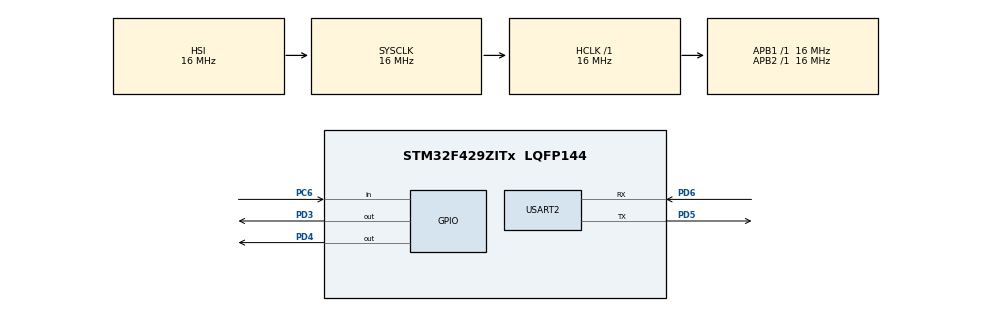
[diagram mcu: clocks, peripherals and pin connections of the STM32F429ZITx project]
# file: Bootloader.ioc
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Mcu.Family=STM32F4
Mcu.Name=STM32F429ZITx
Mcu.Package=LQFP144
NVIC.PriorityGroup=NVIC_PRIORITYGROUP_4
PA13.Mode=Serial_Wire
PA13.Signal=SYS_JTMS-SWDIO
PA14.Mode=Serial_Wire
PA14.Signal=SYS_JTCK-SWCLK
PC6.GPIO_PuPd=GPIO_PULLUP
PC6.Signal=GPIO_Input
PD3.GPIO_PuPd=GPIO_PULLDOWN
PD3.Signal=GPIO_Output
PD4.GPIO_PuPd=GPIO_PULLUP
PD4.PinState=GPIO_PIN_RESET
PD4.Signal=GPIO_Output
PD5.Mode=Asynchronous
PD5.Signal=USART2_TX
PD6.Mode=Asynchronous
PD6.Signal=USART2_RX
ProjectManager.HeapSize=0x200
ProjectManager.StackSize=0x400
ProjectManager.TargetToolchain=Makefile
RCC.AHBFreq_Value=16000000
RCC.APB1Freq_Value=16000000
RCC.APB1TimFreq_Value=16000000
RCC.APB2Freq_Value=16000000
RCC.APB2TimFreq_Value=16000000
RCC.CortexFreq_Value=16000000
RCC.HCLKFreq_Value=16000000
RCC.HSE_VALUE=8000000
RCC.HSI_VALUE=16000000
RCC.LSE_VALUE=32768
RCC.SYSCLKFreq_VALUE=16000000
RCC.VCOOutputFreq_Value=192000000
USART2.VirtualMode=VM_ASYNC
board=custom

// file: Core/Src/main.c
/* USER CODE BEGIN Header */
/**
 ******************************************************************************
 * @file           : main.c
 * @brief          : Main program body
 ******************************************************************************
 * @attention
 *
 * Copyright (c) 2023 STMicroelectronics.
 * All rights reserved.
 *
 * This software is licensed under terms that can be found in the LICENSE file
 * in the root directory of this software component.
 * If no LICENSE file comes with this software, it is provided AS-IS.
 *
 ******************************************************************************
 */
/* USER CODE END Header */
#include "main.h"

/* USER CODE BEGIN Includes */
#include "stdbool.h"
#include "stdint.h"
#include "stm32f429xx.h"
#include "stm32f4xx_hal.h"
#include "stm32f4xx_hal_flash_ex.h"
//
#include "flash_loader.h"     //for parsing msg from RPi and write Flash
#include "jump_addr.h"        //for jump into main program
#include "parser_cmd.h"       //for parsing CMD from RPi
#include "work_with_flash.h"  //for work with flash (read write + serial)
/* USER CODE END Includes */

UART_HandleTypeDef huart2;

void SystemClock_Config(void);
static void MX_GPIO_Init(void);
static void MX_USART2_UART_Init(void);

int main(void) {

  /* MCU Configuration--------------------------------------------------------*/

  /* Reset of all peripherals, Initializes the Flash interface and the Systick. */
  HAL_Init();

  /* Configure the system clock */
  SystemClock_Config();

  /* Initialize all configured peripherals */
  MX_GPIO_Init();
  MX_USART2_UART_Init();
  /* USER CODE BEGIN 2 */
  HAL_Delay(10);
  while (HAL_GPIO_ReadPin(GPIOC, GPIO_PIN_6) != GPIO_PIN_RESET) {
    HAL_GPIO_TogglePin(GPIOA, GPIO_PIN_1);
    HAL_Delay(1);
  }
  bool parserEND = false;
  uDataParse.DataRx[0] = 0;
  /* USER CODE END 2 */

  /* Infinite loop */
  /* USER CODE BEGIN WHILE */
  while (1) {
    HAL_GPIO_WritePin(GPIOD, GPIO_PIN_3, GPIO_PIN_RESET);  // shutdown off
    HAL_GPIO_WritePin(GPIOD, GPIO_PIN_4, GPIO_PIN_SET);    // power on

    while (!parserEND) {
      while ((uDataParse.DataRx[0] != 'm')) {
        HAL_UART_Receive(&huart2, &uDataParse.DataRx[0], 1, 0xffff);
      }
      HAL_UART_Receive(&huart2, &uDataParse.DataRx[1], 10, 0xffff);
      if ((uDataParse.DataRx[0] == 'm') && (uDataParse.DataRx[1] == 'c') && (uDataParse.DataRx[2] == 'u')) {
        /*
          uint8_t DataCmdBoot[] = "mcu;bt;none";
          uint8_t DataCmdStart[] = "mcu;st;none";
        */

        parserEND = ParserCMD();
      } else {
        uDataParse.DataRx[0] = ' ';
      }
    }

    //----------------------------------------------

    JumpNewAddr();  //  Jump to new adress

    /* USER CODE END WHILE */

  }
}

void SystemClock_Config(void) {
  RCC_OscInitTypeDef RCC_OscInitStruct = {0};
  RCC_ClkInitTypeDef RCC_ClkInitStruct = {0};

  /** Configure the main internal regulator output voltage
   */
  __HAL_RCC_PWR_CLK_ENABLE();
  __HAL_PWR_VOLTAGESCALING_CONFIG(PWR_REGULATOR_VOLTAGE_SCALE3);

  /** Initializes the RCC Oscillators according to the specified parameters
   * in the RCC_OscInitTypeDef structure.
   */
  RCC_OscInitStruct.OscillatorType = RCC_OSCILLATORTYPE_HSI;
  RCC_OscInitStruct.HSIState = RCC_HSI_ON;
  RCC_OscInitStruct.HSICalibrationValue = RCC_HSICALIBRATION_DEFAULT;
  RCC_OscInitStruct.PLL.PLLState = RCC_PLL_NONE;
  if (HAL_RCC_OscConfig(&RCC_OscInitStruct) != HAL_OK) {
    Error_Handler();
  }

  /** Initializes the CPU, AHB and APB buses clocks
   */
  RCC_ClkInitStruct.ClockType = RCC_CLOCKTYPE_HCLK | RCC_CLOCKTYPE_SYSCLK | RCC_CLOCKTYPE_PCLK1 | RCC_CLOCKTYPE_PCLK2;
  RCC_ClkInitStruct.SYSCLKSource = RCC_SYSCLKSOURCE_HSI;
  RCC_ClkInitStruct.AHBCLKDivider = RCC_SYSCLK_DIV1;
  RCC_ClkInitStruct.APB1CLKDivider = RCC_HCLK_DIV1;
  RCC_ClkInitStruct.APB2CLKDivider = RCC_HCLK_DIV1;

  if (HAL_RCC_ClockConfig(&RCC_ClkInitStruct, FLASH_LATENCY_0) != HAL_OK) {
    Error_Handler();
  }
}

static void MX_USART2_UART_Init(void) {

  huart2.Instance = USART2;
  huart2.Init.BaudRate = 115200;
  huart2.Init.WordLength = UART_WORDLENGTH_8B;
  huart2.Init.StopBits = UART_STOPBITS_1;
  huart2.Init.Parity = UART_PARITY_NONE;
  huart2.Init.Mode = UART_MODE_TX_RX;
  huart2.Init.HwFlowCtl = UART_HWCONTROL_NONE;
  huart2.Init.OverSampling = UART_OVERSAMPLING_16;
  if (HAL_UART_Init(&huart2) != HAL_OK) {
    Error_Handler();
  }
}

static void MX_GPIO_Init(void) {
  GPIO_InitTypeDef GPIO_InitStruct = {0};

  /* GPIO Ports Clock Enable */
  __HAL_RCC_GPIOC_CLK_ENABLE();
  __HAL_RCC_GPIOA_CLK_ENABLE();
  __HAL_RCC_GPIOD_CLK_ENABLE();

  /*Configure GPIO pin Output Level */
  HAL_GPIO_WritePin(GPIOD, GPIO_PIN_3 | GPIO_PIN_4, GPIO_PIN_RESET);

  /*Configure GPIO pin : PC6 */
  GPIO_InitStruct.Pin = GPIO_PIN_6;
  GPIO_InitStruct.Mode = GPIO_MODE_INPUT;
  GPIO_InitStruct.Pull = GPIO_PULLUP;
  HAL_GPIO_Init(GPIOC, &GPIO_InitStruct);

  /*Configure GPIO pin : PD3 */
  GPIO_InitStruct.Pin = GPIO_PIN_3;
  GPIO_InitStruct.Mode = GPIO_MODE_OUTPUT_PP;
  GPIO_InitStruct.Pull = GPIO_PULLDOWN;
  GPIO_InitStruct.Speed = GPIO_SPEED_FREQ_LOW;
  HAL_GPIO_Init(GPIOD, &GPIO_InitStruct);

  /*Configure GPIO pin : PD4 */
  GPIO_InitStruct.Pin = GPIO_PIN_4;
  GPIO_InitStruct.Mode = GPIO_MODE_OUTPUT_PP;
  GPIO_InitStruct.Pull = GPIO_PULLUP;
  GPIO_InitStruct.Speed = GPIO_SPEED_FREQ_LOW;
  HAL_GPIO_Init(GPIOD, &GPIO_InitStruct);

}

void Error_Handler(void) {
  __disable_irq();
  while (1) {
  }
}
